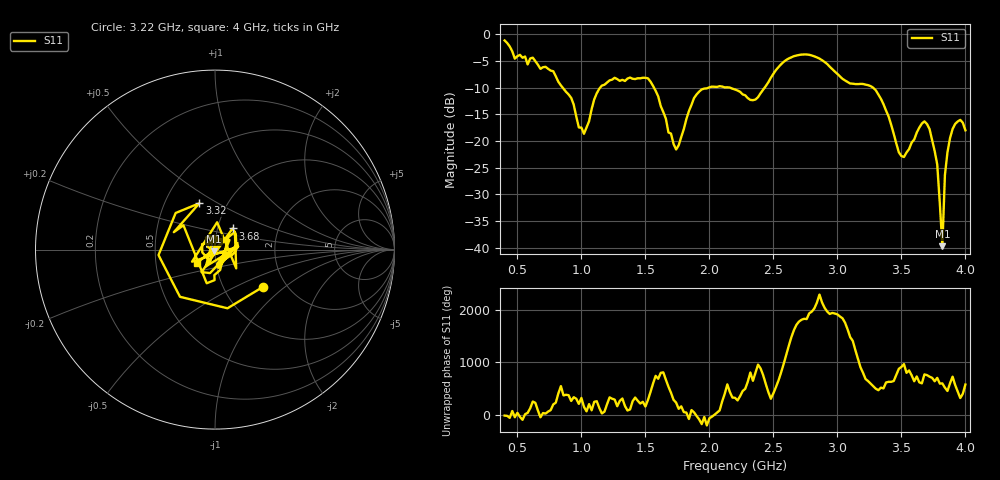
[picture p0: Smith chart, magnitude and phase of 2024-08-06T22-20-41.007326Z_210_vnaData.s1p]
!Created with skrf (http://scikit-rf.org).
# Hz S RI R 50.0
!freq ReS11 ImS11
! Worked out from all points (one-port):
!   181 points, 400 MHz to 4 GHz, reference 50 ohm
!   lowest |S11| = -39.7 dB at 3.82 GHz (marker M1), VSWR 1.02, Z = 49.5 - j0.87 ohm
!   |S11| at or under -10 dB: 854.8 MHz to 1.146 GHz (291.1 MHz wide, 29.1 % of centre); 1.567 GHz to 1.992 GHz (424.3 MHz wide, 23.8 % of centre); 3.28 GHz to end of sweep (the widest 3 of 4)
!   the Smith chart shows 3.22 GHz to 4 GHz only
!   S11 on the Smith chart (normalised r, x): 3.22 GHz: 1.52, -0.72; 3.32 GHz: 0.74, +0.41; 3.68 GHz: 1.18, +0.28; 4 GHz: 0.81, -0.12
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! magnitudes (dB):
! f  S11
! 400 MHz  -1.1
! 480 MHz  -4.5
! 620 MHz  -4.4
! 860 MHz  -10.2
! 1.02 GHz  -18.6
! 1.14 GHz  -10.2
! 1.3 GHz  -8.7
! 1.52 GHz  -8.2
! 1.72 GHz  -20.6
! 1.76 GHz  -20.8
! 1.92 GHz  -10.7
! 2.2 GHz  -10.3
! 2.36 GHz  -12.2
! 2.66 GHz  -4.1
! 2.86 GHz  -4.5
! 3.1 GHz  -9.2
! 3.22 GHz  -9.4
! 3.32 GHz  -11.3
! 3.48 GHz  -22.1
! 3.56 GHz  -21.5
! 3.68 GHz  -16.3
! 3.72 GHz  -17.8
! 3.78 GHz  -24.4
! 3.82 GHz  -39.7
! 3.84 GHz  -26.4
! 3.88 GHz  -19.4
! 3.96 GHz  -16.0
! 4 GHz  -18.0
